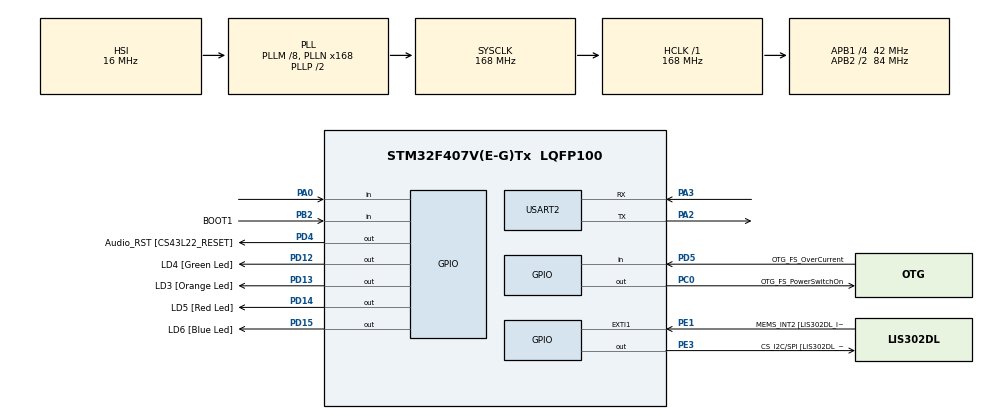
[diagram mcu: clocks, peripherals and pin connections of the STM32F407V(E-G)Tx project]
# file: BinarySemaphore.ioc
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FREERTOS.BinarySemaphores01=BinSem,Dynamic,NULL
FREERTOS.Tasks01=LowTask,-1,128,StartLowTask,Default,NULL,Dynamic,NULL,NULL;NormalTask,0,128,StartNormalTask,Default,NULL,Dynamic,NULL,NULL;HighTask,1,128,StartHighTask,Default,NULL,Dynamic,NULL,NULL
Mcu.Family=STM32F4
Mcu.Name=STM32F407V(E-G)Tx
Mcu.Package=LQFP100
NVIC.PriorityGroup=NVIC_PRIORITYGROUP_4
NVIC.TIM6_DAC_IRQn=true\:15\:0\:false\:false\:true\:false\:false\:true\:true
NVIC.TimeBase=TIM6_DAC_IRQn
NVIC.TimeBaseIP=TIM6
PA0-WKUP.Signal=GPIO_Input
PA10.GPIO_Label=OTG_FS_ID
PA10.GPIO_Mode=GPIO_MODE_AF_PP
PA10.GPIO_PuPd=GPIO_NOPULL
PA10.GPIO_Speed=GPIO_SPEED_FREQ_LOW
PA10.Signal=USB_OTG_FS_ID
PA11.GPIO_Label=OTG_FS_DM
PA11.GPIO_Mode=GPIO_MODE_AF_PP
PA11.GPIO_PuPd=GPIO_NOPULL
PA11.GPIO_Speed=GPIO_SPEED_FREQ_LOW
PA11.Signal=USB_OTG_FS_DM
PA12.GPIO_Label=OTG_FS_DP
PA12.GPIO_Mode=GPIO_MODE_AF_PP
PA12.GPIO_PuPd=GPIO_NOPULL
PA12.GPIO_Speed=GPIO_SPEED_FREQ_LOW
PA12.Signal=USB_OTG_FS_DP
PA13.GPIO_Label=SWDIO
PA13.Signal=SYS_JTMS-SWDIO
PA14.GPIO_Label=SWCLK
PA14.Signal=SYS_JTCK-SWCLK
PA2.Mode=Asynchronous
PA2.Signal=USART2_TX
PA3.Mode=Asynchronous
PA3.Signal=USART2_RX
PA4.GPIO_Label=I2S3_WS [CS43L22_LRCK]
PA4.GPIO_Mode=GPIO_MODE_AF_PP
PA4.GPIO_PuPd=GPIO_NOPULL
PA4.GPIO_Speed=GPIO_SPEED_FREQ_LOW
PA4.Signal=I2S3_WS
PA5.GPIO_Label=SPI1_SCK [LIS302DL_SCL/SPC]
PA5.GPIO_Mode=GPIO_MODE_AF_PP
PA5.GPIO_PuPd=GPIO_NOPULL
PA5.GPIO_Speed=GPIO_SPEED_FREQ_LOW
PA5.Signal=SPI1_SCK
PA6.GPIO_Label=SPI1_MISO [LIS302DL_SDO]
PA6.GPIO_Mode=GPIO_MODE_AF_PP
PA6.GPIO_PuPd=GPIO_NOPULL
PA6.GPIO_Speed=GPIO_SPEED_FREQ_LOW
PA6.Signal=SPI1_MISO
PA7.GPIO_Label=SPI1_MOSI [LIS302DL_SDA/SDI/SDO]
PA7.GPIO_Mode=GPIO_MODE_AF_PP
PA7.GPIO_PuPd=GPIO_NOPULL
PA7.GPIO_Speed=GPIO_SPEED_FREQ_LOW
PA7.Signal=SPI1_MOSI
PA9.GPIO_Label=VBUS_FS
PA9.GPIO_Mode=GPIO_MODE_INPUT
PA9.GPIO_PuPd=GPIO_NOPULL
PA9.Signal=USB_OTG_FS_VBUS
PB10.GPIO_Label=CLK_IN [MP45DT02_CLK]
PB10.GPIO_Mode=GPIO_MODE_AF_PP
PB10.GPIO_PuPd=GPIO_NOPULL
PB10.GPIO_Speed=GPIO_SPEED_FREQ_LOW
PB10.Signal=I2S2_CK
PB2.GPIO_Label=BOOT1
PB2.GPIO_Mode=GPIO_MODE_INPUT
PB2.GPIO_PuPd=GPIO_NOPULL
PB2.Signal=GPIO_Input
PB3.GPIO_Label=SWO
PB3.Signal=SYS_JTDO-SWO
PB6.GPIO_Label=Audio_SCL [CS43L22_SCL]
PB6.GPIO_Mode=GPIO_MODE_AF_OD
PB6.GPIO_PuPd=GPIO_NOPULL
PB6.GPIO_Speed=GPIO_SPEED_FREQ_LOW
PB6.Signal=I2C1_SCL
PB9.GPIO_Label=Audio_SDA [CS43L22_SDA]
PB9.GPIO_Mode=GPIO_MODE_AF_OD
PB9.GPIO_PuPd=GPIO_NOPULL
PB9.GPIO_Speed=GPIO_SPEED_FREQ_LOW
PB9.Signal=I2C1_SDA
PC0.GPIO_Label=OTG_FS_PowerSwitchOn
PC0.GPIO_PuPd=GPIO_NOPULL
PC0.GPIO_Speed=GPIO_SPEED_FREQ_LOW
PC0.PinState=GPIO_PIN_SET
PC0.Signal=GPIO_Output
PC10.GPIO_Label=I2S3_SCK [CS43L22_SCLK]
PC10.GPIO_Mode=GPIO_MODE_AF_PP
PC10.GPIO_PuPd=GPIO_NOPULL
PC10.GPIO_Speed=GPIO_SPEED_FREQ_LOW
PC10.Signal=I2S3_CK
PC12.GPIO_Label=I2S3_SD [CS43L22_SDIN]
PC12.GPIO_Mode=GPIO_MODE_AF_PP
PC12.GPIO_PuPd=GPIO_NOPULL
PC12.GPIO_Speed=GPIO_SPEED_FREQ_LOW
PC12.Signal=I2S3_SD
PC14-OSC32_IN.GPIO_Label=PC14-OSC32_IN
PC14-OSC32_IN.Signal=RCC_OSC32_IN
PC15-OSC32_OUT.GPIO_Label=PC15-OSC32_OUT
PC15-OSC32_OUT.Signal=RCC_OSC32_OUT
PC3.GPIO_Label=PDM_OUT [MP45DT02_DOUT]
PC3.GPIO_Mode=GPIO_MODE_AF_PP
PC3.GPIO_PuPd=GPIO_NOPULL
PC3.GPIO_Speed=GPIO_SPEED_FREQ_LOW
PC3.Signal=I2S2_SD
PC7.GPIO_Label=I2S3_MCK [CS43L22_MCLK]
PC7.GPIO_Mode=GPIO_MODE_AF_PP
PC7.GPIO_PuPd=GPIO_NOPULL
PC7.GPIO_Speed=GPIO_SPEED_FREQ_LOW
PC7.Signal=I2S3_MCK
PD12.GPIO_Label=LD4 [Green Led]
PD12.GPIO_PuPd=GPIO_NOPULL
PD12.GPIO_Speed=GPIO_SPEED_FREQ_LOW
PD12.Signal=GPIO_Output
PD13.GPIO_Label=LD3 [Orange Led]
PD13.GPIO_PuPd=GPIO_NOPULL
PD13.GPIO_Speed=GPIO_SPEED_FREQ_LOW
PD13.Signal=GPIO_Output
PD14.GPIO_Label=LD5 [Red Led]
PD14.GPIO_PuPd=GPIO_NOPULL
PD14.GPIO_Speed=GPIO_SPEED_FREQ_LOW
PD14.Signal=GPIO_Output
PD15.GPIO_Label=LD6 [Blue Led]
PD15.GPIO_PuPd=GPIO_NOPULL
PD15.GPIO_Speed=GPIO_SPEED_FREQ_LOW
PD15.Signal=GPIO_Output
PD4.GPIO_Label=Audio_RST [CS43L22_RESET]
PD4.GPIO_PuPd=GPIO_NOPULL
PD4.GPIO_Speed=GPIO_SPEED_FREQ_LOW
PD4.Signal=GPIO_Output
PD5.GPIO_Label=OTG_FS_OverCurrent
PD5.GPIO_Mode=GPIO_MODE_INPUT
PD5.GPIO_PuPd=GPIO_NOPULL
PD5.Signal=GPIO_Input
PE1.GPIO_Label=MEMS_INT2 [LIS302DL_INT2]
PE1.GPIO_ModeDefaultEXTI=GPIO_MODE_EVT_RISING
PE1.GPIO_PuPd=GPIO_NOPULL
PE1.Signal=GPXTI1
PE3.GPIO_Label=CS_I2C/SPI [LIS302DL_CS_I2C/SPI]
PE3.GPIO_PuPd=GPIO_NOPULL
PE3.GPIO_Speed=GPIO_SPEED_FREQ_LOW
PE3.Signal=GPIO_Output
PH0-OSC_IN.GPIO_Label=PH0-OSC_IN
PH0-OSC_IN.Mode=HSE-External-Oscillator
PH0-OSC_IN.Signal=RCC_OSC_IN
PH1-OSC_OUT.GPIO_Label=PH1-OSC_OUT
PH1-OSC_OUT.Mode=HSE-External-Oscillator
PH1-OSC_OUT.Signal=RCC_OSC_OUT
ProjectManager.HeapSize=0x200
ProjectManager.StackSize=0x400
ProjectManager.TargetToolchain=STM32CubeIDE
RCC.48MHZClocksFreq_Value=48000000
RCC.AHBFreq_Value=168000000
RCC.APB1CLKDivider=RCC_HCLK_DIV4
RCC.APB1Freq_Value=42000000
RCC.APB1TimFreq_Value=84000000
RCC.APB2CLKDivider=RCC_HCLK_DIV2
RCC.APB2Freq_Value=84000000
RCC.APB2TimFreq_Value=168000000
RCC.CortexFreq_Value=168000000
RCC.HCLKFreq_Value=168000000
RCC.HSE_VALUE=8000000
RCC.HSI_VALUE=16000000
RCC.LSE_VALUE=32768
RCC.PLLM=8
RCC.PLLN=168
RCC.PLLQ=7
RCC.SYSCLKFreq_VALUE=168000000
RCC.SYSCLKSource=RCC_SYSCLKSOURCE_PLLCLK
RCC.VCOOutputFreq_Value=336000000
USART2.VirtualMode=VM_ASYNC
VP_FREERTOS_VS_CMSIS_V1.Mode=CMSIS_V1
VP_SYS_VS_tim6.Mode=TIM6
board=STM32F407G-DISC1

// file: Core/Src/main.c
/* USER CODE BEGIN Header */
/**
  ******************************************************************************
  * @file           : main.c
  * @brief          : Main program body
  ******************************************************************************
  * @attention
  *
  * Copyright (c) 2024 STMicroelectronics.
  * All rights reserved.
  *
  * This software is licensed under terms that can be found in the LICENSE file
  * in the root directory of this software component.
  * If no LICENSE file comes with this software, it is provided AS-IS.
  *
  ******************************************************************************
  */
/* USER CODE END Header */
#include "main.h"
#include "cmsis_os.h"
#include "string.h"

UART_HandleTypeDef huart2;

osThreadId LowTaskHandle;
osThreadId NormalTaskHandle;
osThreadId HighTaskHandle;
osSemaphoreId BinSemHandle;

void SystemClock_Config(void);
static void MX_GPIO_Init(void);
static void MX_USART2_UART_Init(void);
void StartLowTask(void const * argument);
void StartNormalTask(void const * argument);
void StartHighTask(void const * argument);

int main(void)
{

  /* MCU Configuration--------------------------------------------------------*/

  /* Reset of all peripherals, Initializes the Flash interface and the Systick. */
  HAL_Init();

  /* Configure the system clock */
  SystemClock_Config();

  /* Initialize all configured peripherals */
  MX_GPIO_Init();
  MX_USART2_UART_Init();

  /* Create the semaphores(s) */
  /* definition and creation of BinSem */
  osSemaphoreDef(BinSem);
  BinSemHandle = osSemaphoreCreate(osSemaphore(BinSem), 1);

  /* Create the thread(s) */
  /* definition and creation of LowTask */
  osThreadDef(LowTask, StartLowTask, osPriorityBelowNormal, 0, 128);
  LowTaskHandle = osThreadCreate(osThread(LowTask), NULL);

  /* definition and creation of NormalTask */
  osThreadDef(NormalTask, StartNormalTask, osPriorityNormal, 0, 128);
  NormalTaskHandle = osThreadCreate(osThread(NormalTask), NULL);

  /* definition and creation of HighTask */
  osThreadDef(HighTask, StartHighTask, osPriorityAboveNormal, 0, 128);
  HighTaskHandle = osThreadCreate(osThread(HighTask), NULL);

  /* Start scheduler */
  osKernelStart();

  /* We should never get here as control is now taken by the scheduler */
  /* Infinite loop */
  while (1)
  {

  }
}

void SystemClock_Config(void)
{
  RCC_OscInitTypeDef RCC_OscInitStruct = {0};
  RCC_ClkInitTypeDef RCC_ClkInitStruct = {0};

  /** Configure the main internal regulator output voltage
  */
  __HAL_RCC_PWR_CLK_ENABLE();
  __HAL_PWR_VOLTAGESCALING_CONFIG(PWR_REGULATOR_VOLTAGE_SCALE1);

  /** Initializes the RCC Oscillators according to the specified parameters
  * in the RCC_OscInitTypeDef structure.
  */
  RCC_OscInitStruct.OscillatorType = RCC_OSCILLATORTYPE_HSI;
  RCC_OscInitStruct.HSIState = RCC_HSI_ON;
  RCC_OscInitStruct.HSICalibrationValue = RCC_HSICALIBRATION_DEFAULT;
  RCC_OscInitStruct.PLL.PLLState = RCC_PLL_ON;
  RCC_OscInitStruct.PLL.PLLSource = RCC_PLLSOURCE_HSI;
  RCC_OscInitStruct.PLL.PLLM = 8;
  RCC_OscInitStruct.PLL.PLLN = 168;
  RCC_OscInitStruct.PLL.PLLP = RCC_PLLP_DIV2;
  RCC_OscInitStruct.PLL.PLLQ = 7;
  if (HAL_RCC_OscConfig(&RCC_OscInitStruct) != HAL_OK)
  {
    Error_Handler();
  }

  /** Initializes the CPU, AHB and APB buses clocks
  */
  RCC_ClkInitStruct.ClockType = RCC_CLOCKTYPE_HCLK|RCC_CLOCKTYPE_SYSCLK
                              |RCC_CLOCKTYPE_PCLK1|RCC_CLOCKTYPE_PCLK2;
  RCC_ClkInitStruct.SYSCLKSource = RCC_SYSCLKSOURCE_PLLCLK;
  RCC_ClkInitStruct.AHBCLKDivider = RCC_SYSCLK_DIV1;
  RCC_ClkInitStruct.APB1CLKDivider = RCC_HCLK_DIV4;
  RCC_ClkInitStruct.APB2CLKDivider = RCC_HCLK_DIV2;

  if (HAL_RCC_ClockConfig(&RCC_ClkInitStruct, FLASH_LATENCY_5) != HAL_OK)
  {
    Error_Handler();
  }
}

static void MX_USART2_UART_Init(void)
{

  huart2.Instance = USART2;
  huart2.Init.BaudRate = 115200;
  huart2.Init.WordLength = UART_WORDLENGTH_8B;
  huart2.Init.StopBits = UART_STOPBITS_1;
  huart2.Init.Parity = UART_PARITY_NONE;
  huart2.Init.Mode = UART_MODE_TX_RX;
  huart2.Init.HwFlowCtl = UART_HWCONTROL_NONE;
  huart2.Init.OverSampling = UART_OVERSAMPLING_16;
  if (HAL_UART_Init(&huart2) != HAL_OK)
  {
    Error_Handler();
  }

}

static void MX_GPIO_Init(void)
{
  GPIO_InitTypeDef GPIO_InitStruct = {0};

  /* GPIO Ports Clock Enable */
  __HAL_RCC_GPIOE_CLK_ENABLE();
  __HAL_RCC_GPIOC_CLK_ENABLE();
  __HAL_RCC_GPIOH_CLK_ENABLE();
  __HAL_RCC_GPIOA_CLK_ENABLE();
  __HAL_RCC_GPIOB_CLK_ENABLE();
  __HAL_RCC_GPIOD_CLK_ENABLE();

  /*Configure GPIO pin Output Level */
  HAL_GPIO_WritePin(CS_I2C_SPI_GPIO_Port, CS_I2C_SPI_Pin, GPIO_PIN_RESET);

  /*Configure GPIO pin Output Level */
  HAL_GPIO_WritePin(OTG_FS_PowerSwitchOn_GPIO_Port, OTG_FS_PowerSwitchOn_Pin, GPIO_PIN_SET);

  /*Configure GPIO pin Output Level */
  HAL_GPIO_WritePin(GPIOD, LD4_Pin|LD3_Pin|LD5_Pin|LD6_Pin
                          |Audio_RST_Pin, GPIO_PIN_RESET);

  /*Configure GPIO pin : CS_I2C_SPI_Pin */
  GPIO_InitStruct.Pin = CS_I2C_SPI_Pin;
  GPIO_InitStruct.Mode = GPIO_MODE_OUTPUT_PP;
  GPIO_InitStruct.Pull = GPIO_NOPULL;
  GPIO_InitStruct.Speed = GPIO_SPEED_FREQ_LOW;
  HAL_GPIO_Init(CS_I2C_SPI_GPIO_Port, &GPIO_InitStruct);

  /*Configure GPIO pin : OTG_FS_PowerSwitchOn_Pin */
  GPIO_InitStruct.Pin = OTG_FS_PowerSwitchOn_Pin;
  GPIO_InitStruct.Mode = GPIO_MODE_OUTPUT_PP;
  GPIO_InitStruct.Pull = GPIO_NOPULL;
  GPIO_InitStruct.Speed = GPIO_SPEED_FREQ_LOW;
  HAL_GPIO_Init(OTG_FS_PowerSwitchOn_GPIO_Port, &GPIO_InitStruct);

  /*Configure GPIO pin : PDM_OUT_Pin */
  GPIO_InitStruct.Pin = PDM_OUT_Pin;
  GPIO_InitStruct.Mode = GPIO_MODE_AF_PP;
  GPIO_InitStruct.Pull = GPIO_NOPULL;
  GPIO_InitStruct.Speed = GPIO_SPEED_FREQ_LOW;
  GPIO_InitStruct.Alternate = GPIO_AF5_SPI2;
  HAL_GPIO_Init(PDM_OUT_GPIO_Port, &GPIO_InitStruct);

  /*Configure GPIO pin : PA0 */
  GPIO_InitStruct.Pin = GPIO_PIN_0;
  GPIO_InitStruct.Mode = GPIO_MODE_INPUT;
  GPIO_InitStruct.Pull = GPIO_NOPULL;
  HAL_GPIO_Init(GPIOA, &GPIO_InitStruct);

  /*Configure GPIO pin : I2S3_WS_Pin */
  GPIO_InitStruct.Pin = I2S3_WS_Pin;
  GPIO_InitStruct.Mode = GPIO_MODE_AF_PP;
  GPIO_InitStruct.Pull = GPIO_NOPULL;
  GPIO_InitStruct.Speed = GPIO_SPEED_FREQ_LOW;
  GPIO_InitStruct.Alternate = GPIO_AF6_SPI3;
  HAL_GPIO_Init(I2S3_WS_GPIO_Port, &GPIO_InitStruct);

  /*Configure GPIO pins : SPI1_SCK_Pin SPI1_MISO_Pin SPI1_MOSI_Pin */
  GPIO_InitStruct.Pin = SPI1_SCK_Pin|SPI1_MISO_Pin|SPI1_MOSI_Pin;
  GPIO_InitStruct.Mode = GPIO_MODE_AF_PP;
  GPIO_InitStruct.Pull = GPIO_NOPULL;
  GPIO_InitStruct.Speed = GPIO_SPEED_FREQ_LOW;
  GPIO_InitStruct.Alternate = GPIO_AF5_SPI1;
  HAL_GPIO_Init(GPIOA, &GPIO_InitStruct);

  /*Configure GPIO pin : BOOT1_Pin */
  GPIO_InitStruct.Pin = BOOT1_Pin;
  GPIO_InitStruct.Mode = GPIO_MODE_INPUT;
  GPIO_InitStruct.Pull = GPIO_NOPULL;
  HAL_GPIO_Init(BOOT1_GPIO_Port, &GPIO_InitStruct);

  /*Configure GPIO pin : CLK_IN_Pin */
  GPIO_InitStruct.Pin = CLK_IN_Pin;
  GPIO_InitStruct.Mode = GPIO_MODE_AF_PP;
  GPIO_InitStruct.Pull = GPIO_NOPULL;
  GPIO_InitStruct.Speed = GPIO_SPEED_FREQ_LOW;
  GPIO_InitStruct.Alternate = GPIO_AF5_SPI2;
  HAL_GPIO_Init(CLK_IN_GPIO_Port, &GPIO_InitStruct);

  /*Configure GPIO pins : LD4_Pin LD3_Pin LD5_Pin LD6_Pin
                           Audio_RST_Pin */
  GPIO_InitStruct.Pin = LD4_Pin|LD3_Pin|LD5_Pin|LD6_Pin
                          |Audio_RST_Pin;
  GPIO_InitStruct.Mode = GPIO_MODE_OUTPUT_PP;
  GPIO_InitStruct.Pull = GPIO_NOPULL;
  GPIO_InitStruct.Speed = GPIO_SPEED_FREQ_LOW;
  HAL_GPIO_Init(GPIOD, &GPIO_InitStruct);

  /*Configure GPIO pins : I2S3_MCK_Pin I2S3_SCK_Pin I2S3_SD_Pin */
  GPIO_InitStruct.Pin = I2S3_MCK_Pin|I2S3_SCK_Pin|I2S3_SD_Pin;
  GPIO_InitStruct.Mode = GPIO_MODE_AF_PP;
  GPIO_InitStruct.Pull = GPIO_NOPULL;
  GPIO_InitStruct.Speed = GPIO_SPEED_FREQ_LOW;
  GPIO_InitStruct.Alternate = GPIO_AF6_SPI3;
  HAL_GPIO_Init(GPIOC, &GPIO_InitStruct);

  /*Configure GPIO pin : VBUS_FS_Pin */
  GPIO_InitStruct.Pin = VBUS_FS_Pin;
  GPIO_InitStruct.Mode = GPIO_MODE_INPUT;
  GPIO_InitStruct.Pull = GPIO_NOPULL;
  HAL_GPIO_Init(VBUS_FS_GPIO_Port, &GPIO_InitStruct);

  /*Configure GPIO pins : OTG_FS_ID_Pin OTG_FS_DM_Pin OTG_FS_DP_Pin */
  GPIO_InitStruct.Pin = OTG_FS_ID_Pin|OTG_FS_DM_Pin|OTG_FS_DP_Pin;
  GPIO_InitStruct.Mode = GPIO_MODE_AF_PP;
  GPIO_InitStruct.Pull = GPIO_NOPULL;
  GPIO_InitStruct.Speed = GPIO_SPEED_FREQ_LOW;
  GPIO_InitStruct.Alternate = GPIO_AF10_OTG_FS;
  HAL_GPIO_Init(GPIOA, &GPIO_InitStruct);

  /*Configure GPIO pin : OTG_FS_OverCurrent_Pin */
  GPIO_InitStruct.Pin = OTG_FS_OverCurrent_Pin;
  GPIO_InitStruct.Mode = GPIO_MODE_INPUT;
  GPIO_InitStruct.Pull = GPIO_NOPULL;
  HAL_GPIO_Init(OTG_FS_OverCurrent_GPIO_Port, &GPIO_InitStruct);

  /*Configure GPIO pins : Audio_SCL_Pin Audio_SDA_Pin */
  GPIO_InitStruct.Pin = Audio_SCL_Pin|Audio_SDA_Pin;
  GPIO_InitStruct.Mode = GPIO_MODE_AF_OD;
  GPIO_InitStruct.Pull = GPIO_NOPULL;
  GPIO_InitStruct.Speed = GPIO_SPEED_FREQ_LOW;
  GPIO_InitStruct.Alternate = GPIO_AF4_I2C1;
  HAL_GPIO_Init(GPIOB, &GPIO_InitStruct);

  /*Configure GPIO pin : MEMS_INT2_Pin */
  GPIO_InitStruct.Pin = MEMS_INT2_Pin;
  GPIO_InitStruct.Mode = GPIO_MODE_EVT_RISING;
  GPIO_InitStruct.Pull = GPIO_NOPULL;
  HAL_GPIO_Init(MEMS_INT2_GPIO_Port, &GPIO_InitStruct);

}

void StartLowTask(void const * argument)
{
  /* USER CODE BEGIN 5 */
  /* Infinite loop */
  for(;;)
  {

	char *str1 = "Entered Low Task \n";
	HAL_UART_Transmit(&huart2, (uint8_t*)str1, strlen(str1), 100);

	osSemaphoreWait(BinSemHandle, osWaitForever);

	char *str3 = "Semaphore acquired by Low Task \n";
	HAL_UART_Transmit(&huart2, (uint8_t*)str3, strlen(str3), 100);

	char *str2 = "Leaving Low Task \n";
	HAL_UART_Transmit(&huart2, (uint8_t*)str2, strlen(str2), 100);

	osSemaphoreRelease(BinSemHandle);

    osDelay(500);
  }
  /* USER CODE END 5 */
}

void StartNormalTask(void const * argument)
{
  /* USER CODE BEGIN StartNormalTask */
  /* Infinite loop */
  for(;;)
  {
	char *str1 = "Entered Normal Task \n";
	HAL_UART_Transmit(&huart2, (uint8_t*)str1, strlen(str1), 100);

	osSemaphoreWait(BinSemHandle, osWaitForever);

	char *str3 = "Semaphore acquired by Normal Task \n";
	HAL_UART_Transmit(&huart2, (uint8_t*)str3, strlen(str3), 100);

	while(!(HAL_GPIO_ReadPin(GPIOA, GPIO_PIN_0)));

	char *str2 = "Leaving Normal Task  and semaphore\n";
	HAL_UART_Transmit(&huart2, (uint8_t*)str2, strlen(str2), 100);

	osSemaphoreRelease(BinSemHandle);

    osDelay(500);
  }
  /* USER CODE END StartNormalTask */
}

void StartHighTask(void const * argument)
{
  /* USER CODE BEGIN StartHighTask */
  /* Infinite loop */
  for(;;)
  {
	char *str1 = "Entered High Task \n";
	HAL_UART_Transmit(&huart2, (uint8_t*)str1, strlen(str1), 100);

	osSemaphoreWait(BinSemHandle, osWaitForever);

	char *str3 = "Semaphore acquired by High Task \n";
	HAL_UART_Transmit(&huart2, (uint8_t*)str3, strlen(str3), 100);

	char *str2 = "Leaving High Task semaphore \n";
	HAL_UART_Transmit(&huart2, (uint8_t*)str2, strlen(str2), 100);

	osSemaphoreRelease(BinSemHandle);

    osDelay(500);
  }
  /* USER CODE END StartHighTask */
}

void HAL_TIM_PeriodElapsedCallback(TIM_HandleTypeDef *htim)
{
  if (htim->Instance == TIM6) {
    HAL_IncTick();
  }
}

void Error_Handler(void)
{
  __disable_irq();
  while (1)
  {
  }
}
